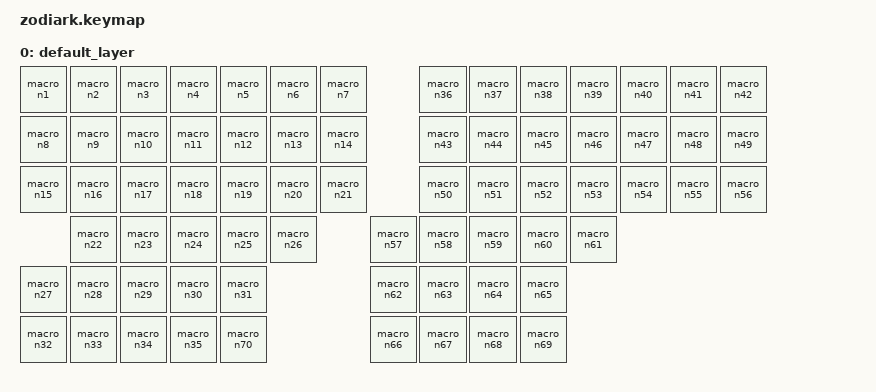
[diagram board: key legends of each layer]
/*
 * ZMK config for split keyboard with 70 unique keys outputting "N1" to "N70"
 */

#include <behaviors.dtsi>
#include <dt-bindings/zmk/keys.h>
#include <dt-bindings/zmk/bt.h>
#include "macros.dtsi"

/ {
    keymap {
        compatible = "zmk,keymap";

        default_layer {
            bindings = <
                &macro_n1   &macro_n2   &macro_n3   &macro_n4   &macro_n5   &macro_n6   &macro_n7                    &macro_n36  &macro_n37  &macro_n38  &macro_n39  &macro_n40  &macro_n41  &macro_n42
                &macro_n8   &macro_n9   &macro_n10  &macro_n11  &macro_n12  &macro_n13  &macro_n14                   &macro_n43  &macro_n44  &macro_n45  &macro_n46  &macro_n47  &macro_n48  &macro_n49
                &macro_n15  &macro_n16  &macro_n17  &macro_n18  &macro_n19  &macro_n20  &macro_n21                   &macro_n50  &macro_n51  &macro_n52  &macro_n53  &macro_n54  &macro_n55  &macro_n56
                                 &macro_n22  &macro_n23  &macro_n24  &macro_n25  &macro_n26        &macro_n57  &macro_n58  &macro_n59  &macro_n60  &macro_n61
                &macro_n27  &macro_n28  &macro_n29  &macro_n30  &macro_n31                            &macro_n62  &macro_n63  &macro_n64  &macro_n65
                &macro_n32  &macro_n33  &macro_n34  &macro_n35  &macro_n70                            &macro_n66  &macro_n67  &macro_n68  &macro_n69
            >;

            sensor-bindings = <>;
        };
    };
};
